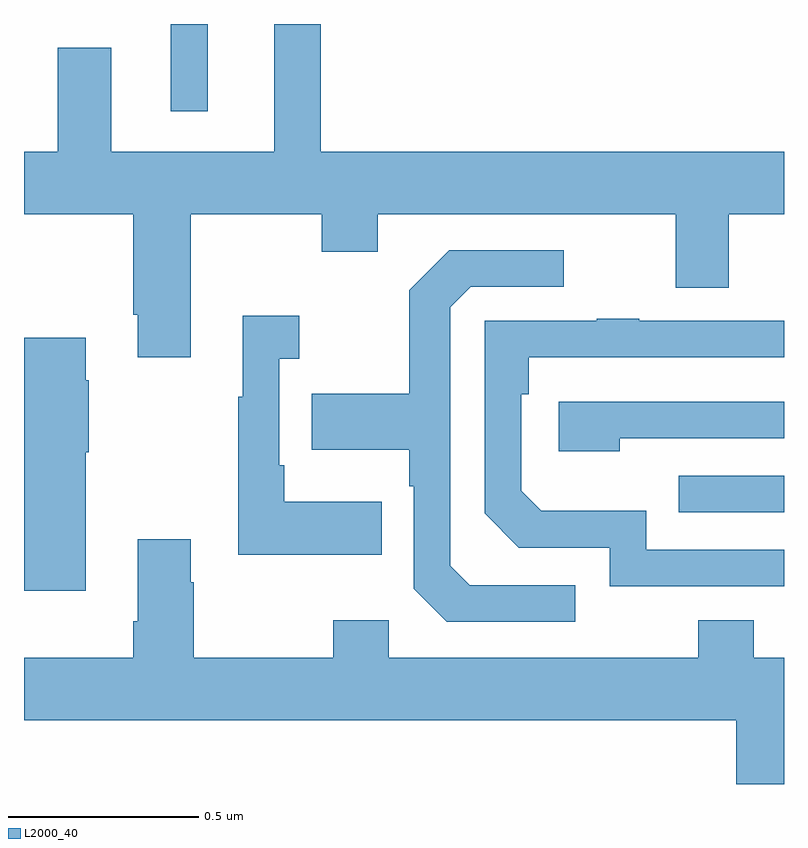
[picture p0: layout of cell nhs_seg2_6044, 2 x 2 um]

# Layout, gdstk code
import gdstk
lib = gdstk.Library(unit=1e-6, precision=1e-09)
def R(c, l, rs):  # rectangles x0, y0, x1, y1
    for r in rs: c.add(gdstk.rectangle(r[:2], r[2:], *l))
def P(c, l, *ps):  # polygons
    for p in ps: c.add(gdstk.Polygon(p, *l))
L2000_40 = (2000, 40)

nhs_seg2_6044 = lib.new_cell('nhs_seg2_6044')
R(nhs_seg2_6044, L2000_40, [(187.723,649.515,188,649.611), (186.386,650.571,186.484,650.8)])
P(nhs_seg2_6044, L2000_40, [(186.439,650.3),(186.784,650.3),(186.784,650.201),(186.931,650.201),(186.931,650.3),(187.715,650.3),(187.715,650.106),(187.855,650.106),(187.855,650.3),(188,650.3),(188,650.464),(186.781,650.464),(186.781,650.8),(186.659,650.8),(186.659,650.464),(186.229,650.464),(186.229,650.737),(186.089,650.737),(186.089,650.464),(186,650.464),(186,650.3),(186.287,650.3),(186.287,650.035),(186.299,650.035),(186.299,649.923),(186.439,649.923)],
  [(187.45,649.323),(187.173,649.323),(187.122,649.374),(187.122,650.055),(187.176,650.109),(187.42,650.109),(187.42,650.205),(187.119,650.205),(187.014,650.099),(187.014,649.827),(186.757,649.827),(186.757,649.679),(187.014,649.679),(187.014,649.583),(187.026,649.583),(187.026,649.314),(187.113,649.227),(187.45,649.227)],
  [(186.941,649.543),(186.685,649.543),(186.685,649.639),(186.672,649.639),(186.672,649.919),(186.724,649.919),(186.724,650.032),(186.575,650.032),(186.575,649.819),(186.564,649.819),(186.564,649.403),(186.941,649.403)],
  [(188,649.416),(187.638,649.416),(187.638,649.519),(187.361,649.519),(187.308,649.572),(187.308,649.826),(187.328,649.826),(187.328,649.923),(188,649.923),(188,650.019),(187.619,650.019),(187.619,650.024),(187.507,650.024),(187.507,650.019),(187.212,650.019),(187.212,649.512),(187.302,649.422),(187.542,649.422),(187.542,649.32),(188,649.32)],
  [(186.163,649.673),(186.171,649.673),(186.171,649.862),(186.163,649.862),(186.163,649.975),(186,649.975),(186,649.308),(186.163,649.308)],
  [(187.568,649.71),(188,649.71),(188,649.806),(187.407,649.806),(187.407,649.676),(187.568,649.676)],
  [(188,649.132),(187.921,649.132),(187.921,649.231),(187.774,649.231),(187.774,649.132),(186.96,649.132),(186.96,649.231),(186.814,649.231),(186.814,649.132),(186.447,649.132),(186.447,649.331),(186.439,649.331),(186.439,649.444),(186.299,649.444),(186.299,649.228),(186.287,649.228),(186.287,649.132),(186,649.132),(186,648.968),(187.874,648.968),(187.874,648.8),(188,648.8)])

lib.write_gds('nhs_seg2_6044.gds')
